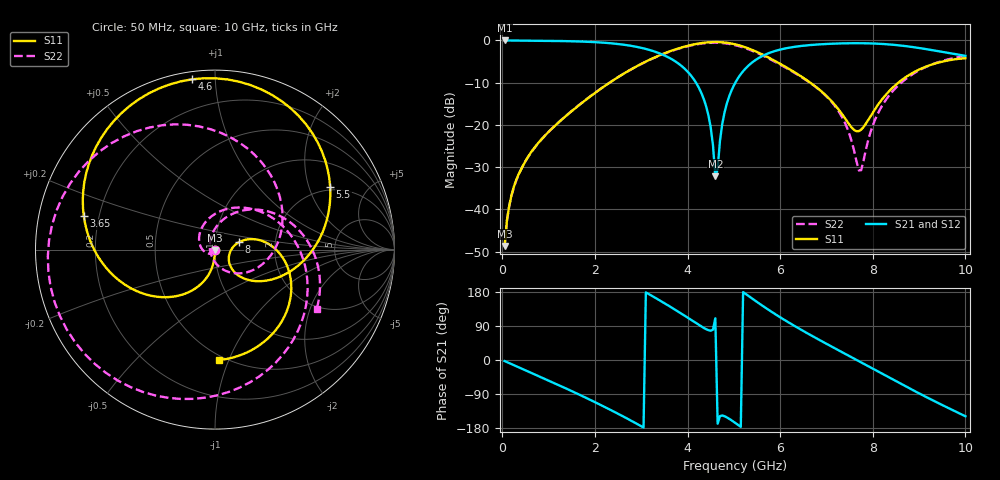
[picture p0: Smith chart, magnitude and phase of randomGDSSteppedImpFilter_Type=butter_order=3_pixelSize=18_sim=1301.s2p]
! freq	dB(S11)	phase(S11)	dB(S12)	phase(S12)
!  dB(S21)	phase(S21)	dB(S22)	phase(S22)
!S-par simulation data
#  GHz  S  DB  R 50
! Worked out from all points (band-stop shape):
!   200 points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, 50 MHz to 10 GHz, reference 50 ohm
!   highest |S21| = 0.00 dB at 50 MHz (marker M1); lowest = -32.2 dB at 4.6 GHz (marker M2)
!   |S21| within 3 dB of the highest: start of sweep to 3.382 GHz; 5.756 GHz to 9.654 GHz (3.898 GHz wide, 50.6 % of centre)
!   lowest |S11| = -48.7 dB at 50 MHz (marker M3), VSWR 1.01, Z = 50 - j0.368 ohm
!   |S11| at or under -10 dB: start of sweep to 2.318 GHz; 6.651 GHz to 8.551 GHz (1.9 GHz wide, 25 % of centre)
!   |S22| runs from -48.7 to -0.5 dB; largest |S21 - S12| = 0
!   S11 on the Smith chart (normalised r, x): 50 MHz: 1.00, -0.01; 3.65 GHz: 0.14, +0.12; 4.6 GHz: 0.04, +0.87; 5.5 GHz: 1.87, +2.79; 8 GHz: 1.30, +0.11; 10 GHz: 0.47, -0.92
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0.05  -48.68 -89.0  -0.00 -2.7  -0.00 -2.7  -48.73 -93.7
0.2  -36.60 -90.5  -0.02 -10.8  -0.02 -10.8  -36.72 -109.8
0.45  -29.59 -92.8  -0.04 -24.3  -0.04 -24.3  -29.58 -136.3
1.15  -20.07 -99.2  -0.12 -62.5  -0.12 -62.5  -20.06 152.3
1.75  -14.53 -109.7  -0.28 -96.4  -0.28 -96.4  -14.48 94.8
2.65  -7.69 -140.4  -1.05 -151.5  -1.05 -151.5  -7.69 15.4
3.4  -3.50 -179.1  -3.08 157.2  -3.08 157.2  -3.56 -48.7
3.65  -2.45 165.7  -4.38 138.8  -4.38 138.8  -2.52 -70.7
4.35  -0.55 117.0  -13.86 84.8  -13.86 84.8  -0.68 -136.5
4.5  -0.41 105.5  -20.57 77.3  -20.57 77.3  -0.56 -151.7
4.6  -0.38 97.6  -32.21 109.9  -32.21 109.9  -0.54 -162.0
4.8  -0.49 81.7  -16.99 -148.4  -16.99 -148.4  -0.67 176.9
5.05  -0.98 61.9  -9.65 -167.7  -9.65 -167.7  -1.17 150.2
5.5  -2.73 28.5  -4.40 153.1  -4.40 153.1  -2.94 102.7
6.05  -5.85 -5.2  -2.03 109.0  -2.03 109.0  -6.02 48.4
6.7  -10.39 -35.6  -1.05 62.8  -1.05 62.8  -10.46 -9.8
7.35  -17.65 -47.7  -0.69 19.8  -0.69 19.8  -18.43 -67.8
7.7  -21.47 -11.1  -0.65 -3.2  -0.65 -3.2  -30.79 -153.9
8  -17.09 17.1  -0.72 -22.9  -0.72 -22.9  -20.15 96.3
8.35  -12.05 12.4  -0.94 -46.0  -0.94 -46.0  -13.08 63.9
9.2  -5.99 -33.4  -2.14 -100.6  -2.14 -100.6  -6.03 9.1
10  -4.21 -87.8  -3.65 -148.5  -3.65 -148.5  -3.67 -30.1
